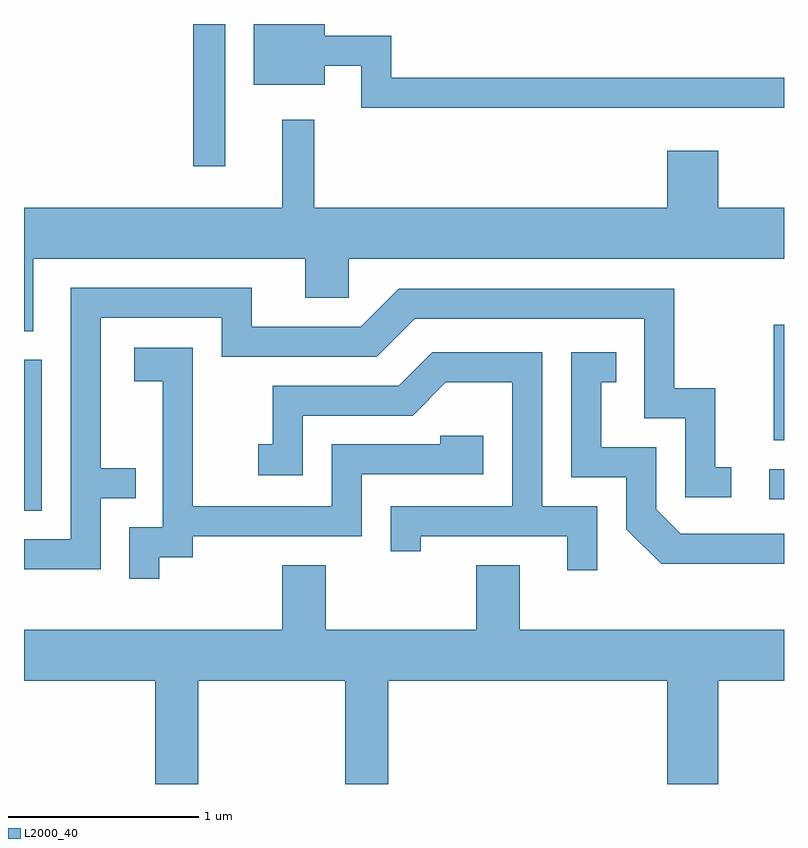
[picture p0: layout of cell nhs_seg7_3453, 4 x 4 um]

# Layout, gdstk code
import gdstk
lib = gdstk.Library(unit=1e-6, precision=1e-09)
def R(c, l, rs):  # rectangles x0, y0, x1, y1
    for r in rs: c.add(gdstk.rectangle(r[:2], r[2:], *l))
def P(c, l, *ps):  # polygons
    for p in ps: c.add(gdstk.Polygon(p, *l))
L2000_40 = (2000, 40)

nhs_seg7_3453 = lib.new_cell('nhs_seg7_3453')
R(nhs_seg7_3453, L2000_40, [(291.611,1679.691,291.704,1680.484), (295.533,1679.751,295.611,1679.909), (295.556,1680.061,295.611,1680.669), (292.501,1681.503,292.669,1682.252)])
P(nhs_seg7_3453, L2000_40, [(295.611,1681.969),(293.544,1681.969),(293.544,1682.189),(293.194,1682.189),(293.194,1682.252),(292.821,1682.252),(292.821,1681.931),(293.194,1681.931),(293.194,1682.031),(293.386,1682.031),(293.386,1681.811),(295.611,1681.811)],
  [(291.659,1681.016),(293.091,1681.016),(293.091,1680.811),(293.319,1680.811),(293.319,1681.016),(295.611,1681.016),(295.611,1681.284),(295.264,1681.284),(295.264,1681.584),(294.996,1681.584),(294.996,1681.284),(293.139,1681.284),(293.139,1681.748),(292.971,1681.748),(292.971,1681.284),(291.611,1681.284),(291.611,1680.636),(291.659,1680.636)],
  [(292.014,1679.756),(292.198,1679.756),(292.198,1679.914),(292.014,1679.914),(292.014,1680.706),(292.651,1680.706),(292.651,1680.501),(293.467,1680.501),(293.667,1680.701),(294.876,1680.701),(294.876,1680.176),(295.091,1680.176),(295.091,1679.761),(295.333,1679.761),(295.333,1679.919),(295.249,1679.919),(295.249,1680.334),(295.034,1680.334),(295.034,1680.859),(293.584,1680.859),(293.384,1680.659),(292.809,1680.659),(292.809,1680.864),(291.856,1680.864),(291.856,1679.539),(291.611,1679.539),(291.611,1679.381),(292.014,1679.381)],
  [(292.324,1679.446),(292.499,1679.446),(292.499,1679.556),(293.389,1679.556),(293.389,1679.881),(294.029,1679.881),(294.029,1680.084),(293.801,1680.084),(293.801,1680.039),(293.231,1680.039),(293.231,1679.714),(292.499,1679.714),(292.499,1680.549),(292.191,1680.549),(292.191,1680.371),(292.341,1680.371),(292.341,1679.604),(292.166,1679.604),(292.166,1679.333),(292.324,1679.333)],
  [(294.629,1679.714),(294.339,1679.714),(294.339,1680.524),(293.759,1680.524),(293.584,1680.349),(292.921,1680.349),(292.921,1680.039),(292.843,1680.039),(292.843,1679.876),(293.079,1679.876),(293.079,1680.191),(293.657,1680.191),(293.832,1680.366),(294.181,1680.366),(294.181,1679.714),(293.541,1679.714),(293.541,1679.478),(293.699,1679.478),(293.699,1679.556),(294.471,1679.556),(294.471,1679.378),(294.629,1679.378)],
  [(295.611,1679.569),(295.067,1679.569),(294.939,1679.697),(294.939,1680.024),(294.649,1680.024),(294.649,1680.366),(294.728,1680.366),(294.728,1680.524),(294.491,1680.524),(294.491,1679.866),(294.781,1679.866),(294.781,1679.594),(294.964,1679.411),(295.611,1679.411)],
  [(293.991,1679.404),(293.991,1679.064),(293.199,1679.064),(293.199,1679.404),(292.971,1679.404),(292.971,1679.064),(291.611,1679.064),(291.611,1678.796),(292.301,1678.796),(292.301,1678.252),(292.529,1678.252),(292.529,1678.796),(293.301,1678.796),(293.301,1678.252),(293.529,1678.252),(293.529,1678.796),(294.996,1678.796),(294.996,1678.252),(295.264,1678.252),(295.264,1678.796),(295.611,1678.796),(295.611,1679.064),(294.219,1679.064),(294.219,1679.404)])

lib.write_gds('nhs_seg7_3453.gds')
